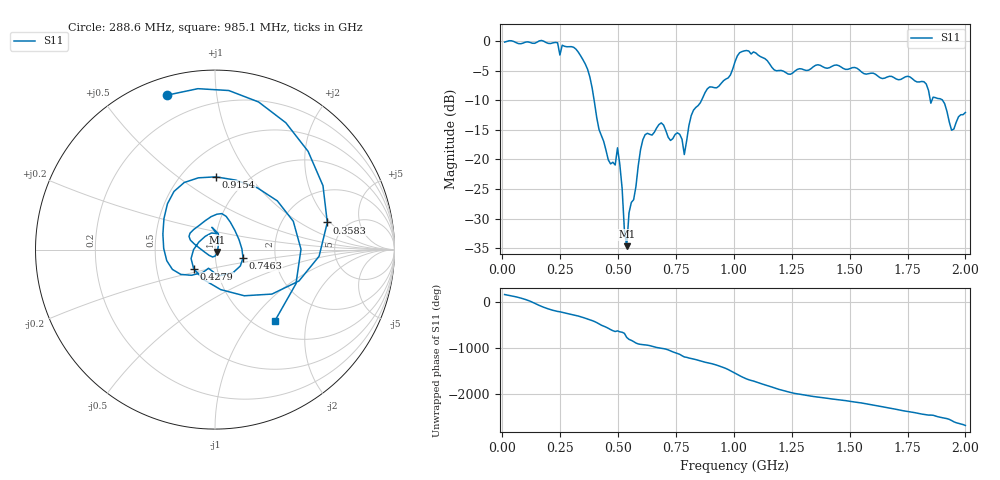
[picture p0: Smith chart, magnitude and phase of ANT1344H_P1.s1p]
!Created with skrf (http://scikit-rf.org).
# Hz S RI R 50.0
!freq ReS11 ImS11
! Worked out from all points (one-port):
!   201 points, 10 MHz to 2 GHz, reference 50 ohm
!   lowest |S11| = -34.7 dB at 537.4 MHz (marker M1), VSWR 1.04, Z = 51.3 - j1.32 ohm
!   |S11| at or under -10 dB: 396.7 MHz to 860.2 MHz (463.4 MHz wide, 73.7 % of centre); 1.848575 GHz to 1.855346 GHz (6.771 MHz wide, 0.366 % of centre); 1.902 GHz to end of sweep
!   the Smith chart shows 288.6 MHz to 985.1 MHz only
!   S11 on the Smith chart (normalised r, x): 288.6 MHz: 0.08, +0.73; 358.2 MHz: 3.59, +1.85; 427.9 MHz: 0.77, -0.17; 746.3 MHz: 1.36, -0.13; 915.5 MHz: 0.72, +0.70; 985.1 MHz: 1.22, -1.32
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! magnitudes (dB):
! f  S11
! 10 MHz  -0.1
! 258.8 MHz  -0.7
! 288.6 MHz  -0.9
! 358.2 MHz  -3.8
! 427.9 MHz  -15.9
! 467.7 MHz  -20.7
! 487.6 MHz  -20.9
! 497.6 MHz  -18.0
! 507.5 MHz  -20.8
! 527.4 MHz  -32.0
! 537.4 MHz  -34.7
! 547.3 MHz  -29.0
! 607 MHz  -16.7
! 686.6 MHz  -13.8
! 746.3 MHz  -15.8
! 756.2 MHz  -15.5
! 786.1 MHz  -19.2
! 825.9 MHz  -11.6
! 915.5 MHz  -7.8
! 985.1 MHz  -5.7
! 1.005 GHz  -3.5
! 1.055 GHz  -1.6
! 1.254 GHz  -5.4
! 1.502 GHz  -4.6
! 1.751 GHz  -5.9
! 1.901 GHz  -9.9
! 1.94 GHz  -15.0
! 2 GHz  -12.0
